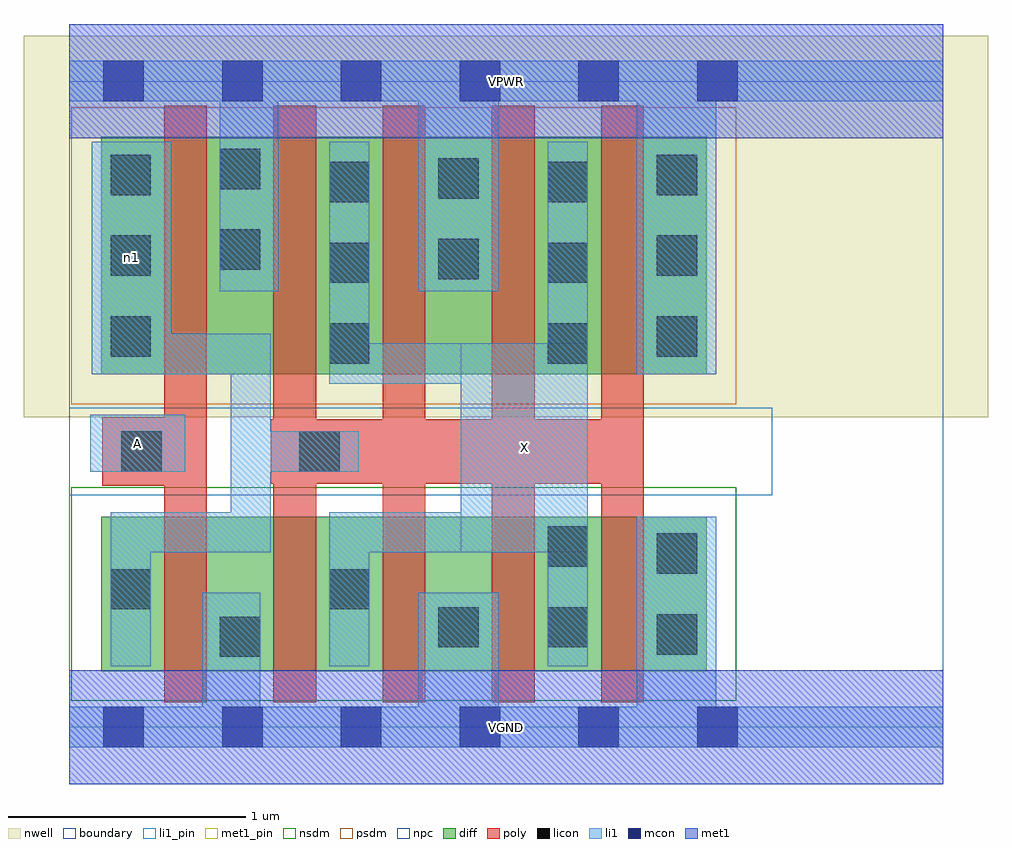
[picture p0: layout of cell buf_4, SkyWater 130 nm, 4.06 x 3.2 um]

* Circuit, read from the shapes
.subckt buf_4 A VGND VPWR X n1
XM1 VGND A n1 VSUBS sky130_fd_pr__nfet_01v8 w=0.65 l=0.18
XM2 X n1 VGND VSUBS sky130_fd_pr__nfet_01v8 w=0.65 l=0.18 m=4
XM3 VPWR A n1 n2 sky130_fd_pr__pfet_01v8 w=1 l=0.18
XM4 X n1 VPWR n2 sky130_fd_pr__pfet_01v8 w=1 l=0.18 m=4
.ends

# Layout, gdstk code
import gdstk
lib = gdstk.Library(unit=1e-6, precision=1e-09)
def R(c, l, rs):  # rectangles x0, y0, x1, y1
    for r in rs: c.add(gdstk.rectangle(r[:2], r[2:], *l))
def A(c, l, x, y, w, h, nx, ny, dx, dy):  # array of equal rectangles
    R(c, l, [(x+i*dx, y+j*dy, x+i*dx+w, y+j*dy+h) for i in range(nx) for j in range(ny)])
nwell = (64, 20)
diff = (65, 20)
poly = (66, 20)
licon = (66, 44)
li1_pin = (67, 16)
li1 = (67, 20)
mcon = (67, 44)
met1_pin = (68, 16)
met1 = (68, 20)
nsdm = (93, 44)
psdm = (94, 20)
npc = (95, 20)
boundary = (235, 4)

buf_4 = lib.new_cell('buf_4')
R(buf_4, nwell, [(-0.19,1.305,3.87,2.91), (0,1.305,3.68,2.91)])
R(buf_4, diff, [(0.135,0.235,2.685,0.885), (0.135,1.485,2.685,2.485)])
A(buf_4, poly, 0.4, 0.105, 0.18, 2.51, 5, 1, 0.46, 0)
R(buf_4, poly, [(0.14,1.015,0.58,1.305), (0.85,1.025,2.42,1.295)])
A(buf_4, licon, 1.095, 1.53, 0.17, 0.17, 1, 3, 0, 0.34)
A(buf_4, licon, 2.015, 1.53, 0.17, 0.17, 1, 3, 0, 0.34)
A(buf_4, licon, 0.175, 1.56, 0.17, 0.17, 1, 3, 0, 0.34)
A(buf_4, licon, 2.475, 1.56, 0.17, 0.17, 1, 3, 0, 0.34)
R(buf_4, licon, [(0.635,0.295,0.805,0.465), (2.475,0.305,2.645,0.475), (1.555,0.335,1.725,0.505), (2.015,0.335,2.185,0.505), (0.175,0.495,0.345,0.665), (1.095,0.495,1.265,0.665), (2.475,0.645,2.645,0.815), (2.015,0.675,2.185,0.845), (0.22,1.075,0.39,1.245), (0.97,1.075,1.14,1.245), (1.555,1.885,1.725,2.055), (0.635,1.925,0.805,2.095), (1.555,2.225,1.725,2.395), (0.635,2.265,0.805,2.435)])
R(buf_4, li1_pin, [(1.65,0.735,2.185,1.615), (0.09,1.075,0.49,1.315)])
R(buf_4, li1, [(0,-0.085,3.68,0.085), (0.56,-0.085,0.805,0.565), (1.47,-0.085,1.81,0.565), (2.39,-0.085,2.725,0.885), (0.175,0.255,0.345,0.905), (1.095,0.255,1.265,0.905), (2.015,0.255,2.185,2.465), (0.175,0.735,0.85,0.905), (0.68,0.735,0.85,1.655), (1.095,0.735,2.185,0.905), (1.65,0.735,2.185,1.615), (0.09,1.075,0.49,1.315), (0.68,1.075,1.22,1.245), (1.095,1.445,2.185,1.615), (1.095,1.445,1.265,2.465), (0.095,1.485,0.43,2.465), (0.095,1.485,0.85,1.655), (2.39,1.485,2.725,2.805), (0.635,1.835,0.88,2.805), (1.47,1.835,1.81,2.805), (0,2.635,3.68,2.805)])
A(buf_4, mcon, 0.145, -0.085, 0.17, 0.17, 6, 2, 0.5, 2.72)
R(buf_4, met1_pin, [(0,-0.24,3.68,0.24), (0,2.48,3.68,2.96)])
R(buf_4, met1, [(0,-0.24,3.68,0.24), (0,2.48,3.68,2.96)])
R(buf_4, nsdm, [(0.01,0.11,2.81,1.01)])
R(buf_4, psdm, [(0.01,1.36,2.81,2.61)])
R(buf_4, npc, [(0,0.975,2.96,1.345)])
R(buf_4, boundary, [(0,0,3.68,2.72)])
buf_4.add(gdstk.Label('A', (0.29,1.195), layer=67, texttype=5))
buf_4.add(gdstk.Label('X', (1.917,1.175), layer=67, texttype=5))
buf_4.add(gdstk.Label('n1', (0.262,1.975), layer=67, texttype=5))
buf_4.add(gdstk.Label('VPWR', (1.84,2.72), layer=68, texttype=5))
buf_4.add(gdstk.Label('VGND', (1.84,0), layer=68, texttype=5))
buf_4.add(gdstk.Label('A', (0.29,1.195), layer=67, texttype=16))
buf_4.add(gdstk.Label('X', (1.917,1.175), layer=67, texttype=16))
buf_4.add(gdstk.Label('VPWR', (1.84,2.72), layer=68, texttype=16))
buf_4.add(gdstk.Label('VGND', (1.84,0), layer=68, texttype=16))

lib.write_gds('buf_4.gds')
